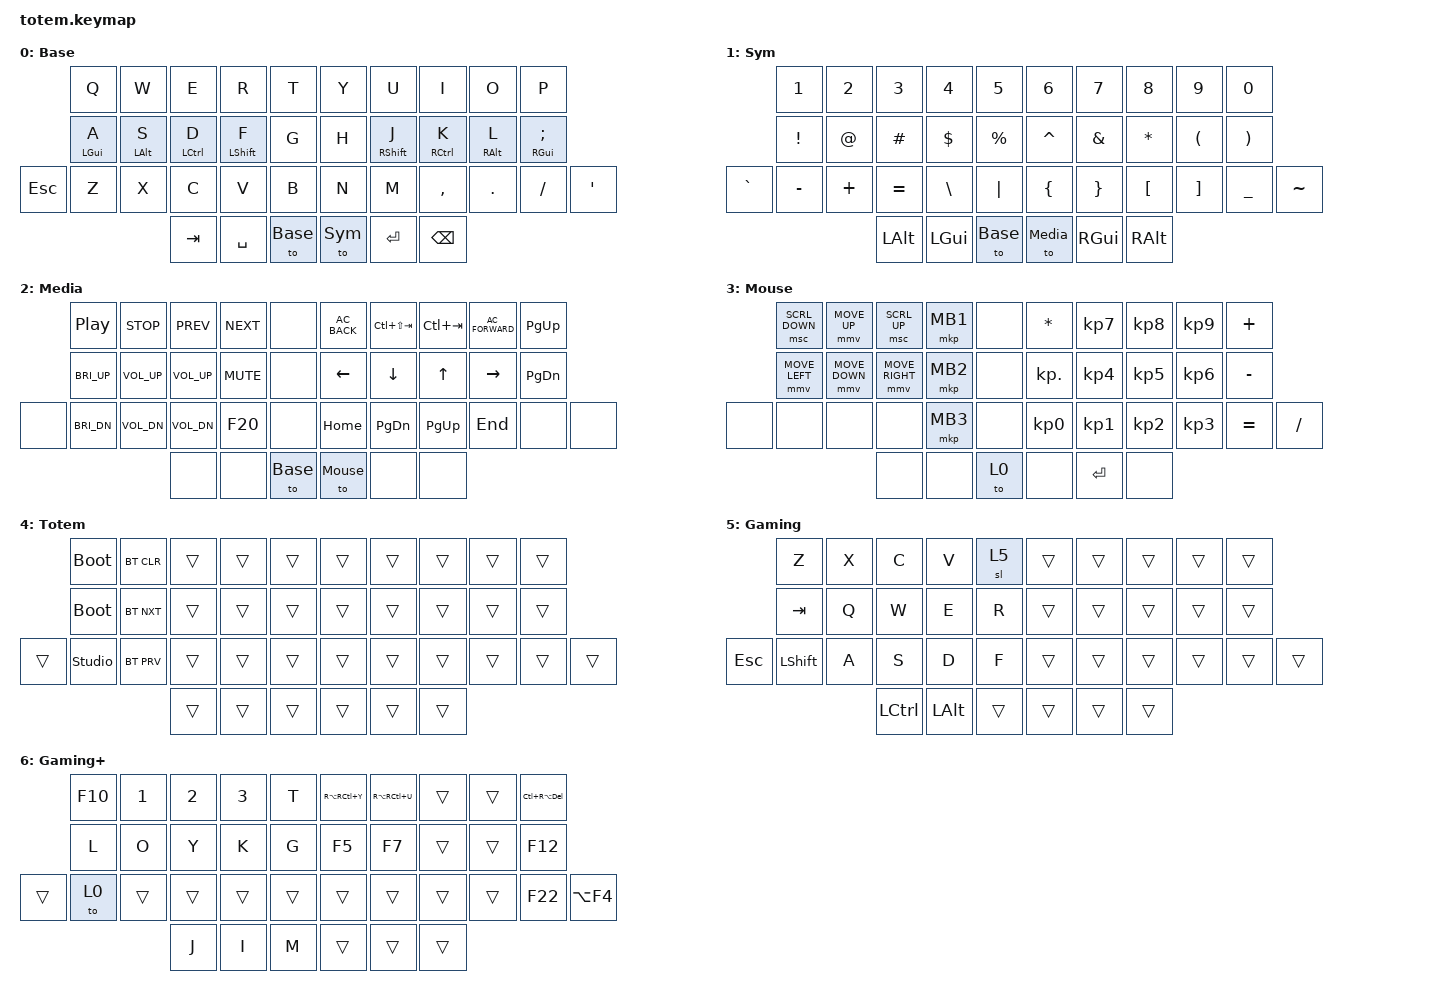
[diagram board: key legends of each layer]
//
//                                                        ▀▀▀▀▀     ▀▀▀▀▀          ▀▀█▀▀
//                                                        ▄▀▀▀▄  ▄  ▄▀▀▀▄  ▄  ▄▀▀▀▄  █  ▄▀▀▀▄
//                                                        █   █  █  █   █  █  █   █  █  █   █
//                                                         ▀▀▀   █   ▀▀▀   █   ▀▀▀   ▀   ▀▀▀
//                                                               █      ▄▄▄█▄▄▄    █   █
//                                                               ▀      █  █  █     █▄█
//                                                             ▀▀▀▀▀    █  █  █      ▀
//                                                                      ▀  ▀  ▀
//
// ▄▄▄▄▄▄▄▄▄▄▄▄▄▄▄▄▄▄▄▄▄▄▄▄▄▄▄▄▄▄▄▄▄▄▄▄▄▄▄▄▄▄▄▄▄▄▄▄▄▄▄▄▄▄▄▄▄▄▄▄▄▄▄▄▄▄▄▄▄▄▄▄▄▄▄▄▄▄▄▄▄▄▄▄▄▄▄▄▄▄▄▄▄▄▄▄▄▄▄▄▄▄▄▄▄▄▄▄▄▄▄▄▄▄▄▄▄▄▄▄▄▄▄▄▄▄▄▄▄▄▄▄▄▄▄▄▄▄▄▄▄▄▄▄▄▄▄▄▄


#include <behaviors.dtsi>
#include <dt-bindings/zmk/keys.h>
#include <dt-bindings/zmk/bt.h>
#include <dt-bindings/zmk/outputs.h>
#include <dt-bindings/zmk/mouse.h>

#define Base        0
#define Sym         1
#define Media       2
#define Mouse       3
#define Totem       4

&mt {
  quick-tap-ms = <100>;
  global-quick-tap;
  flavor = "tap-preferred";
  tapping-term-ms = <170>;
};

&lt {
    tapping-term-ms = <240>;
    flavor = "balanced";
    quick-tap-ms = <150>;
};

/ {
    behaviors {
        hm: homerow_mods {
            compatible = "zmk,behavior-hold-tap";
            label = "HOMEROW_MODS";
            #binding-cells = <2>;
            flavor = "tap-preferred";
            tapping-term-ms = <200>;
            quick-tap-ms = <125>;
            global-quick-tap;
            bindings = <&kp>, <&kp>;
        };
    };

	combos {
    	compatible = "zmk,combos";
	};

	keymap {
		compatible = "zmk,keymap";
// ▄▄▄▄▄▄▄▄▄▄▄▄▄▄▄▄▄▄▄▄▄▄▄▄▄▄▄▄▄▄▄▄▄▄▄▄▄▄▄▄▄▄▄▄▄▄▄▄▄▄▄▄▄▄▄▄▄▄▄▄▄▄▄▄▄▄▄▄▄▄▄▄▄▄▄▄▄▄▄▄▄▄▄▄▄▄▄▄▄▄▄▄▄▄▄▄▄▄▄▄▄▄▄▄▄▄▄▄▄▄▄▄▄▄▄▄▄▄▄▄▄▄▄▄▄▄▄▄▄▄▄▄▄▄▄▄▄▄▄▄▄▄▄▄▄▄▄▄▄

		Base {
// ┏━━━━━━━━━━━━━━━━━━━━━━━━━━━━━━━━━━━━━━━┓
			label= "Base"                  ;
// ┗━━━━━━━━━━━━━━━━━━━━━━━━━━━━━━━━━━━━━━━┛
//             ┏━━━━━━━━━━━┳━━━━━━━━━━━┳━━━━━━━━━━━┳━━━━━━━━━━━┳━━━━━━━━━━━┓   ┏━━━━━━━━━━━┳━━━━━━━━━━━┳━━━━━━━━━━━┳━━━━━━━━━━━┳━━━━━━━━━━━┓
//             ┃     Q     ┃     W     ┃     E     ┃     R     ┃     T     ┃   ┃     Y     ┃     U     ┃     I     ┃     O     ┃     P     ┃
//             ┣━━━━━━━━━━━╋━━━━━━━━━━━╋━━━━━━━━━━━╋━━━━━━━━━━━╋━━━━━━━━━━━┫   ┣━━━━━━━━━━━╋━━━━━━━━━━━╋━━━━━━━━━━━╋━━━━━━━━━━━╋━━━━━━━━━━━┫
//             ┃           ┃           ┃           ┃           ┃           ┃   ┃           ┃           ┃           ┃           ┃     :     ┃
//             ┃     A     ┃     S     ┃     D     ┃     F     ┃     G     ┃   ┃     H     ┃     J     ┃     K     ┃     L     ┃     ;     ┃
//             ┃   [GUI]   ┃   [ALT]   ┃  [CTRL]   ┃  [SHIFT]  ┃           ┃   ┃           ┃  [SHIFT]  ┃  [CTRL]   ┃   [ALT]   ┃   [GUI]   ┃
// ┏━━━━━━━━━━━╋━━━━━━━━━━━╋━━━━━━━━━━━╋━━━━━━━━━━━╋━━━━━━━━━━━╋━━━━━━━━━━━┫   ┣━━━━━━━━━━━╋━━━━━━━━━━━╋━━━━━━━━━━━╋━━━━━━━━━━━╋━━━━━━━━━━━╋━━━━━━━━━━━┓
// ┃           ┃           ┃           ┃           ┃           ┃           ┃   ┃           ┃           ┃     <     ┃     >     ┃     ?     ┃      "    ┃
// ┃    ESC    ┃     Z     ┃     X     ┃     C     ┃     V     ┃     B     ┃   ┃     N     ┃     M     ┃     ,     ┃     .     ┃     /     ┃      '    ┃
// ┗━━━━━━━━━━━┻━━━━━━━━━━━┻━━━━━━━━━━━╋━━━━━━━━━━━╋━━━━━━━━━━━╋━━━━━━━━━━━┫   ┣━━━━━━━━━━━╋━━━━━━━━━━━╋━━━━━━━━━━━╋━━━━━━━━━━━┻━━━━━━━━━━━┻━━━━━━━━━━━┛
//                                     ┃    TAB    ┃   SPACE   ┃  TO BASE  ┃   ┃  TO SYM   ┃   ENTER   ┃    BSPC   ┃
//                                     ┗━━━━━━━━━━━┻━━━━━━━━━━━┻━━━━━━━━━━━┛   ┗━━━━━━━━━━━┻━━━━━━━━━━━┻━━━━━━━━━━━┛
			bindings = <
// ╷           ╷           ╷           ╷           ╷           ╷           ╷   ╷           ╷           ╷           ╷           ╷           ╷           ╷

              &kp Q       &kp W       &kp E          &kp R         &kp T        &kp Y     &kp U        &kp I        &kp O       &kp P
              &hm LGUI A  &hm LALT S  &hm LCTRL D    &hm LSHIFT F  &kp G        &kp H     &hm RSHFT J  &hm RCTRL K  &hm RALT L  &hm RGUI SEMICOLON
  &kp ESCAPE  &kp Z       &kp X       &kp C          &kp V         &kp B        &kp N     &kp M        &kp COMMA    &kp DOT     &kp SLASH   &kp APOSTROPHE
                                      &kp TAB        &kp SPACE     &to Base     &to Sym   &kp RET      &kp BSPC
			>;
    	};

// ▄▄▄▄▄▄▄▄▄▄▄▄▄▄▄▄▄▄▄▄▄▄▄▄▄▄▄▄▄▄▄▄▄▄▄▄▄▄▄▄▄▄▄▄▄▄▄▄▄▄▄▄▄▄▄▄▄▄▄▄▄▄▄▄▄▄▄▄▄▄▄▄▄▄▄▄▄▄▄▄▄▄▄▄▄▄▄▄▄▄▄▄▄▄▄▄▄▄▄▄▄▄▄▄▄▄▄▄▄▄▄▄▄▄▄▄▄▄▄▄▄▄▄▄▄▄▄▄▄▄▄▄▄▄▄▄▄▄▄▄▄▄▄▄▄▄▄▄▄


		Sym {
// ┏━━━━━━━━━━━━━━━━━━━━━━━━━━━━━━━━━━━━━━━┓
			label= "Sym"                   ;
// ┗━━━━━━━━━━━━━━━━━━━━━━━━━━━━━━━━━━━━━━━┛
//             ┏━━━━━━━━━━━┳━━━━━━━━━━━┳━━━━━━━━━━━┳━━━━━━━━━━━┳━━━━━━━━━━━┓   ┏━━━━━━━━━━━┳━━━━━━━━━━━┳━━━━━━━━━━━┳━━━━━━━━━━━┳━━━━━━━━━━━┓
//             ┃     1     ┃     2     ┃     3     ┃     4     ┃     5     ┃   ┃     6     ┃     7     ┃     8     ┃     9     ┃     0     ┃
//             ┣━━━━━━━━━━━╋━━━━━━━━━━━╋━━━━━━━━━━━╋━━━━━━━━━━━╋━━━━━━━━━━━┫   ┣━━━━━━━━━━━╋━━━━━━━━━━━╋━━━━━━━━━━━╋━━━━━━━━━━━╋━━━━━━━━━━━┫
//             ┃     !     ┃     @     ┃     #     ┃     $     ┃     %     ┃   ┃     ˆ     ┃     &     ┃     *     ┃     (     ┃     )     ┃
// ┏━━━━━━━━━━━╋━━━━━━━━━━━╋━━━━━━━━━━━╋━━━━━━━━━━━╋━━━━━━━━━━━╋━━━━━━━━━━━┫   ┣━━━━━━━━━━━╋━━━━━━━━━━━╋━━━━━━━━━━━╋━━━━━━━━━━━╋━━━━━━━━━━━╋━━━━━━━━━━━┓
// ┃     `     ┃     -     ┃     +     ┃     =     ┃     \     ┃     |     ┃   ┃     {     ┃     }     ┃     [     ┃     ]     ┃     _     ┃     ~     ┃
// ┗━━━━━━━━━━━┻━━━━━━━━━━━┻━━━━━━━━━━━╋━━━━━━━━━━━╋━━━━━━━━━━━╋━━━━━━━━━━━┫   ┣━━━━━━━━━━━╋━━━━━━━━━━━╋━━━━━━━━━━━╋━━━━━━━━━━━┻━━━━━━━━━━━┻━━━━━━━━━━━┛
//                                     ┃    LALT   ┃    LGUI   ┃  TO BASE  ┃   ┃ TO Media  ┃   RGUI    ┃   RALT    ┃
//                                     ┗━━━━━━━━━━━┻━━━━━━━━━━━┻━━━━━━━━━━━┛   ┗━━━━━━━━━━━┻━━━━━━━━━━━┻━━━━━━━━━━━┛
			bindings = <
// ╷           ╷           ╷           ╷           ╷           ╷           ╷   ╷           ╷           ╷           ╷           ╷           ╷           ╷

                &kp N1      &kp N2      &kp N3      &kp N4      &kp N5          &kp N6      &kp N7        &kp N8    &kp N9      &kp N0
                &kp EXCL    &kp AT      &kp HASH    &kp DOLLAR  &kp PERCENT     &kp CARET   &kp AMPERSAND &kp STAR  &kp LPAR    &kp RPAR
    &kp GRAVE   &kp MINUS   &kp PLUS    &kp EQUAL   &kp BSLH    &kp PIPE        &kp LBRC    &kp RBRC      &kp LBKT  &kp RBKT    &kp UNDER   &kp TILDE
                                        &kp LALT    &kp LGUI    &to Base        &to Media   &kp RGUI      &kp RALT
			>;
    	};

// ▄▄▄▄▄▄▄▄▄▄▄▄▄▄▄▄▄▄▄▄▄▄▄▄▄▄▄▄▄▄▄▄▄▄▄▄▄▄▄▄▄▄▄▄▄▄▄▄▄▄▄▄▄▄▄▄▄▄▄▄▄▄▄▄▄▄▄▄▄▄▄▄▄▄▄▄▄▄▄▄▄▄▄▄▄▄▄▄▄▄▄▄▄▄▄▄▄▄▄▄▄▄▄▄▄▄▄▄▄▄▄▄▄▄▄▄▄▄▄▄▄▄▄▄▄▄▄▄▄▄▄▄▄▄▄▄▄▄▄▄▄▄▄▄▄▄▄▄▄


		Media {
// ┏━━━━━━━━━━━━━━━━━━━━━━━━━━━━━━━━━━━━━━━┓
			label= "Media"                 ;
// ┗━━━━━━━━━━━━━━━━━━━━━━━━━━━━━━━━━━━━━━━┛
//             ┏━━━━━━━━━━━┳━━━━━━━━━━━┳━━━━━━━━━━━┳━━━━━━━━━━━┳━━━━━━━━━━━┓   ┏━━━━━━━━━━━┳━━━━━━━━━━━┳━━━━━━━━━━━┳━━━━━━━━━━━┳━━━━━━━━━━━┓
//             ┃   Play    ┃   Stop    ┃   Prev    ┃   Next    ┃           ┃   ┃  Browser  ┃  Browser  ┃  Browser  ┃  Browser  ┃  PG Up    ┃
//             ┃           ┃           ┃           ┃           ┃           ┃   ┃   Back    ┃  Prev Tab ┃  Next Tab ┃  Forward  ┃           ┃
//             ┣━━━━━━━━━━━╋━━━━━━━━━━━╋━━━━━━━━━━━╋━━━━━━━━━━━╋━━━━━━━━━━━┫   ┣━━━━━━━━━━━╋━━━━━━━━━━━╋━━━━━━━━━━━╋━━━━━━━━━━━╋━━━━━━━━━━━┫
//             ┃ Bright +  ┃   Vol +   ┃   Vol +   ┃   Mute    ┃           ┃   ┃   Left    ┃   Down    ┃     Up    ┃   Right   ┃  PG Down  ┃
// ┏━━━━━━━━━━━╋━━━━━━━━━━━╋━━━━━━━━━━━╋━━━━━━━━━━━╋━━━━━━━━━━━╋━━━━━━━━━━━┫   ┣━━━━━━━━━━━╋━━━━━━━━━━━╋━━━━━━━━━━━╋━━━━━━━━━━━╋━━━━━━━━━━━╋━━━━━━━━━━━┓
// ┃           ┃ Bright -  ┃   Vol -   ┃   Vol -   ┃    F20    ┃           ┃   ┃   HOME    ┃  Browser  ┃  Browser  ┃    End    ┃           ┃           ┃
// ┃           ┃           ┃           ┃           ┃           ┃           ┃   ┃           ┃  PG Down  ┃  PG UP    ┃           ┃           ┃           ┃
// ┗━━━━━━━━━━━┻━━━━━━━━━━━┻━━━━━━━━━━━╋━━━━━━━━━━━╋━━━━━━━━━━━╋━━━━━━━━━━━┫   ┣━━━━━━━━━━━╋━━━━━━━━━━━╋━━━━━━━━━━━╋━━━━━━━━━━━┻━━━━━━━━━━━┻━━━━━━━━━━━┛
//                                     ┃           ┃           ┃  TO Base  ┃   ┃  TO Mouse ┃           ┃           ┃
//                                     ┗━━━━━━━━━━━┻━━━━━━━━━━━┻━━━━━━━━━━━┛   ┗━━━━━━━━━━━┻━━━━━━━━━━━┻━━━━━━━━━━━┛
			bindings = <
// ╷           ╷           ╷           ╷           ╷           ╷           ╷   ╷           ╷           ╷           ╷           ╷           ╷           ╷

               &kp C_PLAY_PAUSE &kp C_STOP   &kp C_PREV   &kp C_NEXT &none      &kp C_AC_BACK &kp LC(LS(TAB)) &kp LC(TAB) &kp C_AC_FORWARD &kp PG_UP
               &kp C_BRI_UP     &kp C_VOL_UP &kp C_VOL_UP &kp C_MUTE &none      &kp LEFT      &kp DOWN        &kp UP      &kp RIGHT        &kp PG_DN
    &none      &kp C_BRI_DN     &kp C_VOL_DN &kp C_VOL_DN &kp F20    &none      &kp HOME      &kp PG_DN       &kp PG_UP   &kp END          &none      &none
                                             &none        &none      &to Base   &to Mouse     &none           &none
			>;

		};

// ▄▄▄▄▄▄▄▄▄▄▄▄▄▄▄▄▄▄▄▄▄▄▄▄▄▄▄▄▄▄▄▄▄▄▄▄▄▄▄▄▄▄▄▄▄▄▄▄▄▄▄▄▄▄▄▄▄▄▄▄▄▄▄▄▄▄▄▄▄▄▄▄▄▄▄▄▄▄▄▄▄▄▄▄▄▄▄▄▄▄▄▄▄▄▄▄▄▄▄▄▄▄▄▄▄▄▄▄▄▄▄▄▄▄▄▄▄▄▄▄▄▄▄▄▄▄▄▄▄▄▄▄▄▄▄▄▄▄▄▄▄▄▄▄▄▄▄▄▄


		Mouse {
// ┏━━━━━━━━━━━━━━━━━━━━━━━━━━━━━━━━━━━━━━━┓
			label= "Mouse"                 ;
// ┗━━━━━━━━━━━━━━━━━━━━━━━━━━━━━━━━━━━━━━━┛
//             ┏━━━━━━━━━━━┳━━━━━━━━━━━┳━━━━━━━━━━━┳━━━━━━━━━━━┳━━━━━━━━━━━┓   ┏━━━━━━━━━━━┳━━━━━━━━━━━┳━━━━━━━━━━━┳━━━━━━━━━━━┳━━━━━━━━━━━┓
//             ┃   RESET   ┃ BT CLEAR  ┃           ┃           ┃           ┃   ┃           ┃           ┃           ┃           ┃           ┃
//             ┣━━━━━━━━━━━╋━━━━━━━━━━━╋━━━━━━━━━━━╋━━━━━━━━━━━╋━━━━━━━━━━━┫   ┣━━━━━━━━━━━╋━━━━━━━━━━━╋━━━━━━━━━━━╋━━━━━━━━━━━╋━━━━━━━━━━━┫
//             ┃ BOOTLOAD  ┃ BT NEXT   ┃           ┃           ┃           ┃   ┃           ┃           ┃           ┃           ┃           ┃
// ┏━━━━━━━━━━━╋━━━━━━━━━━━╋━━━━━━━━━━━╋━━━━━━━━━━━╋━━━━━━━━━━━╋━━━━━━━━━━━┫   ┣━━━━━━━━━━━╋━━━━━━━━━━━╋━━━━━━━━━━━╋━━━━━━━━━━━╋━━━━━━━━━━━╋━━━━━━━━━━━┓
// ┃           ┃  UNLOCK   ┃ BT PREV   ┃           ┃           ┃           ┃   ┃           ┃           ┃           ┃           ┃           ┃           ┃
// ┗━━━━━━━━━━━┻━━━━━━━━━━━┻━━━━━━━━━━━╋━━━━━━━━━━━╋━━━━━━━━━━━╋━━━━━━━━━━━┫   ┣━━━━━━━━━━━╋━━━━━━━━━━━╋━━━━━━━━━━━╋━━━━━━━━━━━┻━━━━━━━━━━━┻━━━━━━━━━━━┛
//                                     ┃           ┃           ┃           ┃   ┃           ┃           ┃           ┃
//                                     ┗━━━━━━━━━━━┻━━━━━━━━━━━┻━━━━━━━━━━━┛   ┗━━━━━━━━━━━┻━━━━━━━━━━━┻━━━━━━━━━━━┛
			bindings = <
// ╷           ╷           ╷           ╷           ╷           ╷           ╷   ╷           ╷           ╷           ╷           ╷           ╷           ╷

                &msc SCRL_DOWN  &mmv MOVE_UP    &msc SCRL_UP    &mkp MB1  &none    &kp STAR    &kp KP_N7    &kp KP_N8    &kp KP_N9    &kp PLUS
                &mmv MOVE_LEFT  &mmv MOVE_DOWN  &mmv MOVE_RIGHT &mkp MB2  &none    &kp KP_DOT  &kp KP_N4    &kp KP_N5    &kp KP_N6    &kp MINUS
    &none       &none           &none           &none           &mkp MB3  &none    &kp KP_N0   &kp KP_N1    &kp KP_N2    &kp KP_N3    &kp EQUAL  &kp SLASH
                                                &none           &none     &to 0    &none       &kp RET      &none
        	>;
    	};

// ▄▄▄▄▄▄▄▄▄▄▄▄▄▄▄▄▄▄▄▄▄▄▄▄▄▄▄▄▄▄▄▄▄▄▄▄▄▄▄▄▄▄▄▄▄▄▄▄▄▄▄▄▄▄▄▄▄▄▄▄▄▄▄▄▄▄▄▄▄▄▄▄▄▄▄▄▄▄▄▄▄▄▄▄▄▄▄▄▄▄▄▄▄▄▄▄▄▄▄▄▄▄▄▄▄▄▄▄▄▄▄▄▄▄▄▄▄▄▄▄▄▄▄▄▄▄▄▄▄▄▄▄▄▄▄▄▄▄▄▄▄▄▄▄▄▄▄▄▄


		Totem {
// ┏━━━━━━━━━━━━━━━━━━━━━━━━━━━━━━━━━━━━━━━┓
			label= "Totem"                 ;
// ┗━━━━━━━━━━━━━━━━━━━━━━━━━━━━━━━━━━━━━━━┛
//             ┏━━━━━━━━━━━┳━━━━━━━━━━━┳━━━━━━━━━━━┳━━━━━━━━━━━┳━━━━━━━━━━━┓   ┏━━━━━━━━━━━┳━━━━━━━━━━━┳━━━━━━━━━━━┳━━━━━━━━━━━┳━━━━━━━━━━━┓
//             ┃   RESET   ┃ BT CLEAR  ┃           ┃           ┃           ┃   ┃           ┃           ┃           ┃           ┃           ┃
//             ┣━━━━━━━━━━━╋━━━━━━━━━━━╋━━━━━━━━━━━╋━━━━━━━━━━━╋━━━━━━━━━━━┫   ┣━━━━━━━━━━━╋━━━━━━━━━━━╋━━━━━━━━━━━╋━━━━━━━━━━━╋━━━━━━━━━━━┫
//             ┃ BOOTLOAD  ┃ BT NEXT   ┃           ┃           ┃           ┃   ┃           ┃           ┃           ┃           ┃           ┃
// ┏━━━━━━━━━━━╋━━━━━━━━━━━╋━━━━━━━━━━━╋━━━━━━━━━━━╋━━━━━━━━━━━╋━━━━━━━━━━━┫   ┣━━━━━━━━━━━╋━━━━━━━━━━━╋━━━━━━━━━━━╋━━━━━━━━━━━╋━━━━━━━━━━━╋━━━━━━━━━━━┓
// ┃           ┃  UNLOCK   ┃ BT PREV   ┃           ┃           ┃           ┃   ┃           ┃           ┃           ┃           ┃           ┃           ┃
// ┗━━━━━━━━━━━┻━━━━━━━━━━━┻━━━━━━━━━━━╋━━━━━━━━━━━╋━━━━━━━━━━━╋━━━━━━━━━━━┫   ┣━━━━━━━━━━━╋━━━━━━━━━━━╋━━━━━━━━━━━╋━━━━━━━━━━━┻━━━━━━━━━━━┻━━━━━━━━━━━┛
//                                     ┃           ┃           ┃           ┃   ┃           ┃           ┃           ┃
//                                     ┗━━━━━━━━━━━┻━━━━━━━━━━━┻━━━━━━━━━━━┛   ┗━━━━━━━━━━━┻━━━━━━━━━━━┻━━━━━━━━━━━┛
			bindings = <
// ╷           ╷           ╷           ╷           ╷           ╷           ╷   ╷           ╷           ╷           ╷           ╷           ╷           ╷

              &bootloader    &bt BT_CLR  &trans  &trans  &trans    &trans  &trans  &trans  &trans  &trans
              &bootloader    &bt BT_NXT  &trans  &trans  &trans    &trans  &trans  &trans  &trans  &trans
     &trans   &studio_unlock &bt BT_PRV  &trans  &trans  &trans    &trans  &trans  &trans  &trans  &trans  &trans
                                         &trans  &trans  &trans    &trans  &trans  &trans
        	>;
    	};

// ▄▄▄▄▄▄▄▄▄▄▄▄▄▄▄▄▄▄▄▄▄▄▄▄▄▄▄▄▄▄▄▄▄▄▄▄▄▄▄▄▄▄▄▄▄▄▄▄▄▄▄▄▄▄▄▄▄▄▄▄▄▄▄▄▄▄▄▄▄▄▄▄▄▄▄▄▄▄▄▄▄▄▄▄▄▄▄▄▄▄▄▄▄▄▄▄▄▄▄▄▄▄▄▄▄▄▄▄▄▄▄▄▄▄▄▄▄▄▄▄▄▄▄▄▄▄▄▄▄▄▄▄▄▄▄▄▄▄▄▄▄▄▄▄▄▄▄▄▄

		Gaming {
// ┏━━━━━━━━━━━━━━━━━━━━━━━━━━━━━━━━━━━━━━━┓
			label= "Gaming"                ;
// ┗━━━━━━━━━━━━━━━━━━━━━━━━━━━━━━━━━━━━━━━┛
//             ┏━━━━━━━━━━━┳━━━━━━━━━━━┳━━━━━━━━━━━┳━━━━━━━━━━━┳━━━━━━━━━━━┓   ┏━━━━━━━━━━━┳━━━━━━━━━━━┳━━━━━━━━━━━┳━━━━━━━━━━━┳━━━━━━━━━━━┓
//             ┃     Z     ┃     X     ┃     C     ┃     V     ┃  Gaming+  ┃   ┃           ┃           ┃           ┃           ┃           ┃
//             ┣━━━━━━━━━━━╋━━━━━━━━━━━╋━━━━━━━━━━━╋━━━━━━━━━━━╋━━━━━━━━━━━┫   ┣━━━━━━━━━━━╋━━━━━━━━━━━╋━━━━━━━━━━━╋━━━━━━━━━━━╋━━━━━━━━━━━┫
//             ┃    TAB    ┃     Q     ┃     W     ┃     E     ┃     R     ┃   ┃           ┃           ┃           ┃           ┃           ┃
// ┏━━━━━━━━━━━╋━━━━━━━━━━━╋━━━━━━━━━━━╋━━━━━━━━━━━╋━━━━━━━━━━━╋━━━━━━━━━━━┫   ┣━━━━━━━━━━━╋━━━━━━━━━━━╋━━━━━━━━━━━╋━━━━━━━━━━━╋━━━━━━━━━━━╋━━━━━━━━━━━┓
// ┃   ESC     ┃   SHIFT   ┃     A     ┃     S     ┃     D     ┃     F     ┃   ┃           ┃           ┃           ┃           ┃           ┃           ┃
// ┗━━━━━━━━━━━┻━━━━━━━━━━━┻━━━━━━━━━━━╋━━━━━━━━━━━╋━━━━━━━━━━━╋━━━━━━━━━━━┫   ┣━━━━━━━━━━━╋━━━━━━━━━━━╋━━━━━━━━━━━╋━━━━━━━━━━━┻━━━━━━━━━━━┻━━━━━━━━━━━┛
//                                     ┃    CTRL   ┃    ALT    ┃           ┃   ┃           ┃           ┃           ┃
//                                     ┗━━━━━━━━━━━┻━━━━━━━━━━━┻━━━━━━━━━━━┛   ┗━━━━━━━━━━━┻━━━━━━━━━━━┻━━━━━━━━━━━┛
			bindings = <
// ╷           ╷           ╷           ╷           ╷           ╷           ╷   ╷           ╷           ╷           ╷           ╷           ╷           ╷

            &kp Z           &kp X  &kp C      &kp V         &sl 5     &trans  &trans  &trans  &trans  &trans
            &kp TAB         &kp Q  &kp W      &kp E         &kp R     &trans  &trans  &trans  &trans  &trans
&kp ESCAPE  &kp LEFT_SHIFT  &kp A  &kp S      &kp D         &kp F     &trans  &trans  &trans  &trans  &trans  &trans
                                   &kp LCTRL  &kp LEFT_ALT  &trans    &trans  &trans  &trans
        	>;
    	};

// ▄▄▄▄▄▄▄▄▄▄▄▄▄▄▄▄▄▄▄▄▄▄▄▄▄▄▄▄▄▄▄▄▄▄▄▄▄▄▄▄▄▄▄▄▄▄▄▄▄▄▄▄▄▄▄▄▄▄▄▄▄▄▄▄▄▄▄▄▄▄▄▄▄▄▄▄▄▄▄▄▄▄▄▄▄▄▄▄▄▄▄▄▄▄▄▄▄▄▄▄▄▄▄▄▄▄▄▄▄▄▄▄▄▄▄▄▄▄▄▄▄▄▄▄▄▄▄▄▄▄▄▄▄▄▄▄▄▄▄▄▄▄▄▄▄▄▄▄▄

		Gameplus {
// ┏━━━━━━━━━━━━━━━━━━━━━━━━━━━━━━━━━━━━━━━┓
			label= "Gaming+"               ;
// ┗━━━━━━━━━━━━━━━━━━━━━━━━━━━━━━━━━━━━━━━┛
//             ┏━━━━━━━━━━━┳━━━━━━━━━━━┳━━━━━━━━━━━┳━━━━━━━━━━━┳━━━━━━━━━━━┓   ┏━━━━━━━━━━━┳━━━━━━━━━━━┳━━━━━━━━━━━┳━━━━━━━━━━━┳━━━━━━━━━━━┓
//             ┃    F10    ┃     1     ┃     2     ┃     3     ┃     T     ┃   ┃           ┃           ┃           ┃           ┃           ┃
//             ┣━━━━━━━━━━━╋━━━━━━━━━━━╋━━━━━━━━━━━╋━━━━━━━━━━━╋━━━━━━━━━━━┫   ┣━━━━━━━━━━━╋━━━━━━━━━━━╋━━━━━━━━━━━╋━━━━━━━━━━━╋━━━━━━━━━━━┫
//             ┃     L     ┃     O     ┃     Y     ┃     K     ┃     G     ┃   ┃           ┃           ┃           ┃           ┃   F12     ┃
// ┏━━━━━━━━━━━╋━━━━━━━━━━━╋━━━━━━━━━━━╋━━━━━━━━━━━╋━━━━━━━━━━━╋━━━━━━━━━━━┫   ┣━━━━━━━━━━━╋━━━━━━━━━━━╋━━━━━━━━━━━╋━━━━━━━━━━━╋━━━━━━━━━━━╋━━━━━━━━━━━┓
// ┃           ┃   BASE    ┃           ┃           ┃           ┃           ┃   ┃           ┃           ┃           ┃           ┃   F22     ┃           ┃
// ┗━━━━━━━━━━━┻━━━━━━━━━━━┻━━━━━━━━━━━╋━━━━━━━━━━━╋━━━━━━━━━━━╋━━━━━━━━━━━┫   ┣━━━━━━━━━━━╋━━━━━━━━━━━╋━━━━━━━━━━━╋━━━━━━━━━━━┻━━━━━━━━━━━┻━━━━━━━━━━━┛
//                                     ┃     J     ┃     I     ┃     M     ┃   ┃           ┃           ┃           ┃
//                                     ┗━━━━━━━━━━━┻━━━━━━━━━━━┻━━━━━━━━━━━┛   ┗━━━━━━━━━━━┻━━━━━━━━━━━┻━━━━━━━━━━━┛
			bindings = <
// ╷           ╷           ╷           ╷           ╷           ╷           ╷   ╷           ╷           ╷           ╷           ╷           ╷           ╷

        &kp F10  &kp NUMBER_1  &kp NUMBER_2  &kp NUMBER_3  &kp T     &kp RA(RC(Y))  &kp RA(RC(U))  &trans  &trans  &kp LC(RA(DEL))
        &kp L    &kp O         &kp Y         &kp K         &kp G     &kp F5         &kp F7         &trans  &trans  &kp F12
&trans  &to 0    &trans        &trans        &trans        &trans    &trans         &trans         &trans  &trans  &kp F22          &kp LA(F4)
                               &kp J         &kp I         &kp M     &trans         &trans         &trans
        	>;
    	};
	};

};
